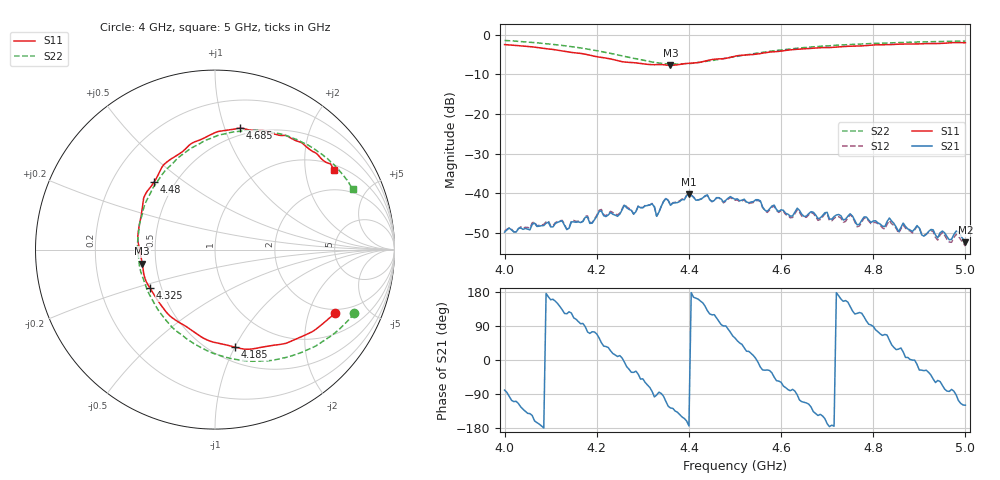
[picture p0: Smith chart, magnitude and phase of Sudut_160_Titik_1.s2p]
# Hz S RI R 50
! CMT, C1220, 16058040, 17.2.0/1
! Date: 15/08/2018 11:33:29
! Data: Format (Calibration Info)
! Freq  S11: Re/Im (F2)  S21: Re/Im (F2)  S12: Re/Im (F2)  S22: Re/Im (F2)
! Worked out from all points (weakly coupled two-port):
!   201 points, 4 GHz to 5 GHz, reference 50 ohm
!   highest |S21| = -40.28 dB at 4.4 GHz (marker M1); lowest = -52.5 dB at 5 GHz (marker M2)
!   lowest |S11| = -7.7 dB at 4.36 GHz (marker M3), VSWR 2.40, Z = 21 - j3.92 ohm
!   |S11| at or under -10 dB: nowhere
!   |S22| runs from -7.4 to -1.4 dB; largest |S21 - S12| = 0.00037
!   S11 on the Smith chart (normalised r, x): 4 GHz: 1.81, -2.99; 4.185 GHz: 0.64, -1.00; 4.325 GHz: 0.43, -0.23; 4.48 GHz: 0.38, +0.39; 4.685 GHz: 0.44, +1.13; 5 GHz: 1.16, +2.85
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4e9  0.6667 -0.3553  0.000589 -0.00315  0.000772 -0.00323  0.775 -0.3547
4.17e9  0.1641 -0.5547  -0.000486 0.00434  -0.000638 0.00435  0.2747 -0.62
4.185e9  0.111 -0.5438  0.0014 0.00388  0.00136 0.00403  0.2104 -0.6222
4.21e9  0.00821 -0.5191  0.00415 0.00426  0.00425 0.0045  0.0986 -0.6093
4.325e9  -0.3617 -0.2143  -0.000857 -0.00663  -0.000891 -0.00669  -0.3437 -0.2898
4.335e9  -0.3826 -0.1799  0.000518 -0.00572  0.000475 -0.00571  -0.3679 -0.2461
4.35e9  -0.3991 -0.1206  -0.00281 -0.00803  -0.00287 -0.00813  -0.396 -0.1721
4.36e9  -0.405 -0.0776  -0.00417 -0.00561  -0.00417 -0.00567  -0.4131 -0.1255
4.4e9  -0.4291 0.0879  -0.00963 -0.00104  -0.00976 -0.000831  -0.4277 0.0756
4.48e9  -0.3402 0.3749  8.37e-06 0.00809  0.000288 0.00788  -0.3006 0.4102
4.5e9  -0.303 0.4449  0.00442 0.00707  0.00433 0.00685  -0.2457 0.471
4.67e9  0.1124 0.672  -0.00414 -0.00395  -0.00401 -0.00377  0.2479 0.6637
4.685e9  0.1413 0.6771  -0.00388 -0.00288  -0.00375 -0.00269  0.2845 0.6597
4.75e9  0.2885 0.6595  -0.00426 0.00342  -0.00421 0.00327  0.4329 0.6208
4.765e9  0.3212 0.6472  -0.00215 0.00332  -0.00205 0.00313  0.4625 0.6102
4.785e9  0.3694 0.6357  -0.00114 0.00484  -0.00116 0.00471  0.5008 0.5912
4.825e9  0.4271 0.6187  0.00144 0.00347  0.00144 0.00318  0.5677 0.5501
4.835e9  0.446 0.6089  0.00294 0.00383  0.00267 0.0036  0.5822 0.5396
4.855e9  0.4779 0.5979  0.00285 0.00157  0.0027 0.00153  0.6121 0.5172
4.895e9  0.5351 0.5528  0.00379 -0.000781  0.00373 -0.00061  0.6648 0.4715
4.91e9  0.5576 0.5405  0.00251 -0.00134  0.00258 -0.00139  0.6807 0.4526
5e9  0.6615 0.4457  -0.00117 -0.00208  -0.000934 -0.00191  0.7682 0.337
